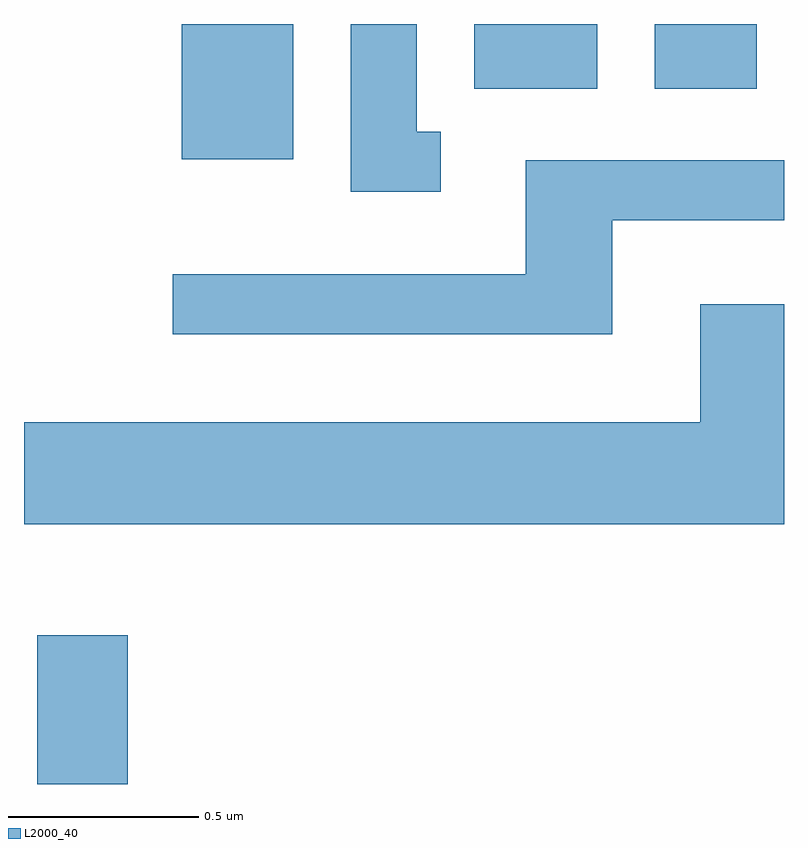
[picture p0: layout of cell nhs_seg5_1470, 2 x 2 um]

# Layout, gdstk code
import gdstk
lib = gdstk.Library(unit=1e-6, precision=1e-09)
def R(c, l, rs):  # rectangles x0, y0, x1, y1
    for r in rs: c.add(gdstk.rectangle(r[:2], r[2:], *l))
def P(c, l, *ps):  # polygons
    for p in ps: c.add(gdstk.Polygon(p, *l))
L2000_40 = (2000, 40)

nhs_seg5_1470 = lib.new_cell('nhs_seg5_1470')
R(nhs_seg5_1470, L2000_40, [(195.646,1496.072,195.884,1496.464), (196.026,1497.716,196.319,1498.072), (196.796,1497.901,197.119,1498.072), (197.271,1497.901,197.539,1498.072)])
P(nhs_seg5_1470, L2000_40, [(196.708,1497.789),(196.644,1497.789),(196.644,1498.072),(196.471,1498.072),(196.471,1497.631),(196.708,1497.631)],
  [(197.159,1497.556),(197.611,1497.556),(197.611,1497.714),(196.931,1497.714),(196.931,1497.414),(196.003,1497.414),(196.003,1497.256),(197.159,1497.256)],
  [(197.611,1497.334),(197.391,1497.334),(197.391,1497.024),(195.611,1497.024),(195.611,1496.756),(197.611,1496.756)])

lib.write_gds('nhs_seg5_1470.gds')
